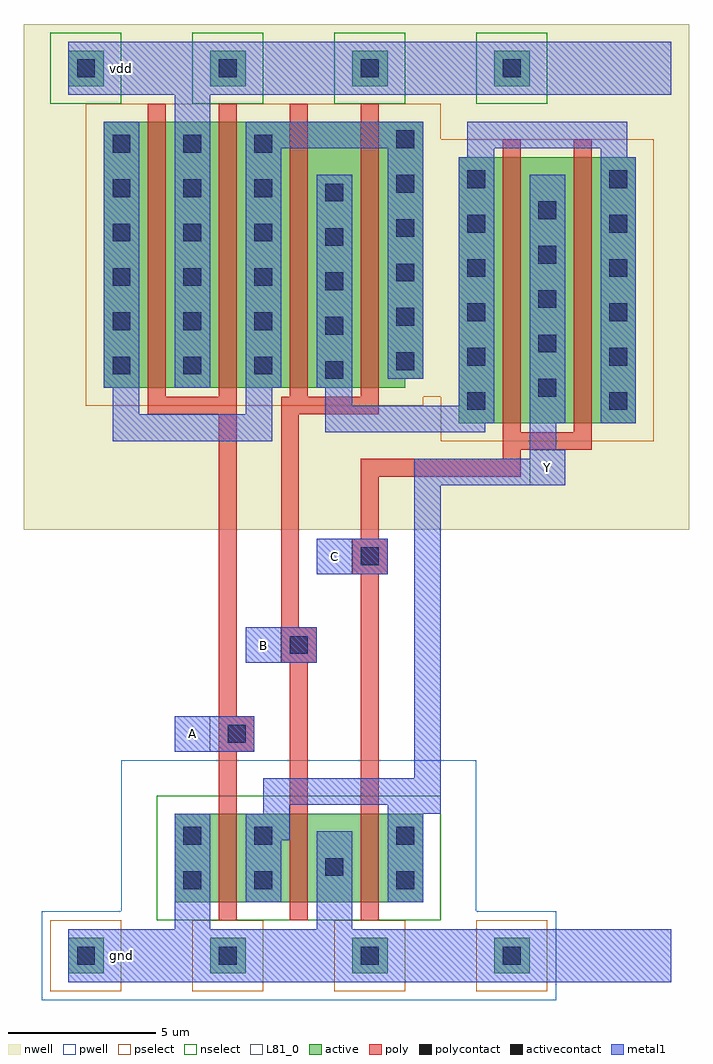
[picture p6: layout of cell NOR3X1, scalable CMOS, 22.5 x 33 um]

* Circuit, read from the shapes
.subckt NOR3X1 A B C Y gnd vdd
M1 Y A gnd gnd nfet w=3u l=0.6u
M2 gnd B Y gnd nfet w=3u l=0.6u
M3 Y C gnd gnd nfet w=3u l=0.6u
M4 vdd A n1 vdd pfet w=9u l=0.6u m=2
M5 n2 B n1 vdd pfet w=9u l=0.6u m=2
M6 Y C n2 vdd pfet w=9u l=0.6u m=2
.ends

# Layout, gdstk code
import gdstk
lib = gdstk.Library(unit=1e-6, precision=1e-09)
def R(c, l, rs):  # rectangles x0, y0, x1, y1
    for r in rs: c.add(gdstk.rectangle(r[:2], r[2:], *l))
def A(c, l, x, y, w, h, nx, ny, dx, dy):  # array of equal rectangles
    R(c, l, [(x+i*dx, y+j*dy, x+i*dx+w, y+j*dy+h) for i in range(nx) for j in range(ny)])
pwell = (41, 0)
nwell = (42, 0)
active = (43, 0)
pselect = (44, 0)
nselect = (45, 0)
poly = (46, 0)
polycontact = (47, 0)
activecontact = (48, 0)
metal1 = (49, 0)
L81_0 = (81, 0)

nor3x1 = lib.new_cell('NOR3X1')
R(nor3x1, pwell, [(-1.5,-1.5,15.9,1.5), (1.2,1.5,13.2,6.6)])
R(nor3x1, nwell, [(-2.1,14.4,20.4,31.5)])
A(nor3x1, active, -0.6, -0.6, 1.2, 1.2, 4, 2, 4.8, 30)
R(nor3x1, active, [(3,1.8,11.4,4.8), (12.6,18,18.6,27), (0.6,19.2,10.8,19.5), (0.6,19.5,11.4,28.2)])
A(nor3x1, pselect, -1.2, -1.2, 2.4, 2.4, 4, 1, 4.8, 0)
R(nor3x1, pselect, [(12,17.4,19.2,18.9), (0,18.6,11.4,18.9), (0,18.9,19.2,27.6), (0,27.6,12,28.8)])
A(nor3x1, nselect, -1.2, 28.8, 2.4, 2.4, 4, 1, 4.8, 0)
R(nor3x1, nselect, [(2.4,1.2,12,5.4)])
A(nor3x1, poly, 2.1, 18.9, 0.6, 9.9, 4, 1, 2.4, 0)
R(nor3x1, poly, [(4.5,1.2,5.1,6.9), (6.9,1.2,7.5,9.9), (9.3,1.2,9.9,12.9), (4.5,6.9,5.7,8.1), (4.5,8.1,5.1,18.3), (6.6,9.9,7.8,11.1), (6.6,11.1,7.2,18.3), (9,12.9,10.2,14.1), (9.3,14.1,9.9,16.2), (9.3,16.2,14.7,16.8), (14.1,16.8,14.7,17.1), (14.1,17.1,17.1,17.7), (14.1,17.7,14.7,27.6), (16.5,17.7,17.1,27.6), (2.1,18.3,5.1,18.9), (6.6,18.3,9.9,18.9)])
R(nor3x1, polycontact, [(4.8,7.2,5.4,7.8), (6.9,10.2,7.5,10.8), (9.3,13.2,9.9,13.8)])
A(nor3x1, activecontact, -0.3, -0.3, 0.6, 0.6, 4, 2, 4.8, 30)
A(nor3x1, activecontact, 12.9, 18.45, 0.6, 0.6, 1, 6, 0, 1.5)
A(nor3x1, activecontact, 17.7, 18.45, 0.6, 0.6, 1, 6, 0, 1.5)
A(nor3x1, activecontact, 15.3, 18.9, 0.6, 0.6, 1, 5, 0, 1.5)
A(nor3x1, activecontact, 8.1, 19.5, 0.6, 0.6, 1, 5, 0, 1.5)
A(nor3x1, activecontact, 0.9, 19.65, 0.6, 0.6, 3, 6, 2.4, 1.5)
A(nor3x1, activecontact, 10.5, 19.8, 0.6, 0.6, 1, 6, 0, 1.5)
R(nor3x1, activecontact, [(3.3,2.25,3.9,2.85), (5.7,2.25,6.3,2.85), (10.5,2.25,11.1,2.85), (8.1,2.7,8.7,3.3), (3.3,3.75,3.9,4.35), (5.7,3.75,6.3,4.35), (10.5,3.75,11.1,4.35)])
R(nor3x1, metal1, [(-0.6,-0.9,19.8,0.9), (3,0.9,4.2,4.8), (7.8,0.9,9,4.2), (5.4,1.8,6.6,3.9), (10.2,1.8,11.4,4.8), (5.4,3.9,6.9,4.8), (6,4.8,6.9,5.1), (10.2,4.8,12,5.1), (6,5.1,12,6), (11.1,6,12,15.9), (3,6.9,5.7,8.1), (5.4,9.9,7.8,11.1), (7.8,12.9,10.2,14.1), (11.1,15.9,16.2,16.8), (15,16.8,16.2,17.1), (15,17.1,15.9,18), (0.9,17.4,6.3,18.3), (8.1,17.7,13.5,18), (8.1,18,13.8,18.6), (15,18,16.2,26.4), (17.4,18,18.6,27), (0.9,18.3,1.8,19.2), (5.4,18.3,6.3,19.2), (8.1,18.6,9,19.2), (12.6,18.6,13.8,27), (0.6,19.2,1.8,28.2), (3,19.2,4.2,29.1), (5.4,19.2,6.6,27.3), (7.8,19.2,9,26.4), (10.2,19.5,11.4,27.3), (12.9,27,13.8,27.3), (17.4,27,18.3,27.3), (5.4,27.3,11.4,28.2), (12.9,27.3,18.3,28.2), (-0.6,29.1,19.8,30.9)])
R(nor3x1, L81_0, [(3,6.9,4.2,8.1), (5.4,9.9,6.6,11.1), (7.8,12.9,9,14.1), (15,15.9,16.2,17.1)])
nor3x1.add(gdstk.Label('vdd', (1.2,30), layer=49, texttype=0))
nor3x1.add(gdstk.Label('gnd', (1.2,0), layer=49, texttype=0))
nor3x1.add(gdstk.Label('B', (6,10.5), layer=49, texttype=0))
nor3x1.add(gdstk.Label('C', (8.4,13.5), layer=49, texttype=0))
nor3x1.add(gdstk.Label('A', (3.6,7.5), layer=49, texttype=0))
nor3x1.add(gdstk.Label('Y', (15.6,16.5), layer=49, texttype=0))

lib.write_gds('NOR3X1.gds')
